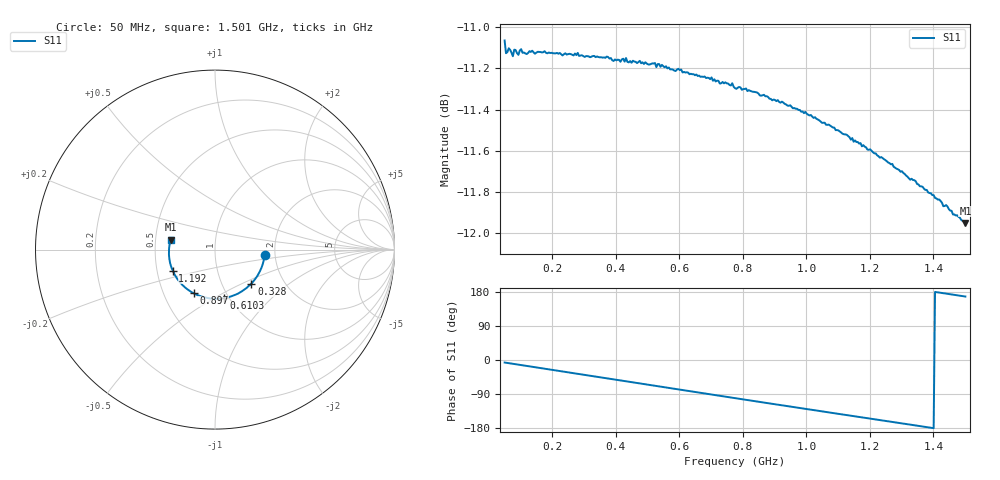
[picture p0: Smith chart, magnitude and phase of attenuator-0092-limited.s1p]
! This is a Touchstone .s1p format file
! It should be saved with .s1p extension
! HEWLETT PACKARD,8720D,0,7.74
! Date = 21 Mar 2018
! Time = 01:37:42
! S11 measured = FALSE
! S21 measured = FALSE
! S12 measured = FALSE
! S22 measured = TRUE
! Start frequency = 0.050000000 GHz
! Centre frequency  = 3.524999936 GHz
! Stop frequency  = 7.000000000 GHz
! IF bandwidth = 300 Hz
! Smoothing = OFF
! Smoothing aperture = 1.000000 %
! Averaging = OFF
! Averaging factor = 16
! Source power = On
! Source power = Auto mode
! Output power level = 5.000000 dBm
! Retrace power = Off
! Testset switching = Continuous
! Number of sweeps for test set switching (0=hold, 1=continuous,2-999 = number of sweeps) = 1
! Step sweep = On (check)
! List frequency sweep = Off (check)
! IFBW setting for a list-frequency table in swept list mode = Disabled (Check)
! Power setting for a list-frequency table in swept list mode = Disabled (Check)
! Measurement mode = Chop A and B
! Port extensions = OFF
! Port extension 1 = 0.000000 ps
! Port extension 2 = 57.970000 ps
! Points  = 1601
! Calibration kit = 3.5 mm D
! Power = 5.000000 dBm
! Frequency magS22 angS22
! Magnitudes are in log form
! Angles are in degrees
# MHz S DB R 50
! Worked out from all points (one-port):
!   335 points, 50 MHz to 1.501 GHz, reference 50 ohm
!   lowest |S11| = -12.0 dB at 1.501 GHz (marker M1), VSWR 1.68, Z = 30.1 + j3.52 ohm
!   |S11| at or under -10 dB: start of sweep to end of sweep
!   S11 on the Smith chart (normalised r, x): 50 MHz: 1.76, -0.12; 328 MHz: 1.38, -0.56; 610.3 MHz: 0.95, -0.55; 897 MHz: 0.71, -0.37; 1.192 GHz: 0.60, -0.15; 1.501 GHz: 0.60, +0.07
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50  -11.06 -6.6
54.34375  -11.13 -7.1
76.0625  -11.14 -10.0
136.875  -11.11 -18.0
175.9688  -11.12 -23.1
232.4375  -11.14 -30.4
271.5312  -11.13 -35.5
328  -11.14 -42.9
371.4375  -11.14 -48.6
414.875  -11.17 -54.2
475.6875  -11.16 -62.1
519.125  -11.18 -67.8
597.3125  -11.20 -77.9
610.3438  -11.22 -79.6
701.5625  -11.24 -91.3
775.4062  -11.30 -100.7
836.2188  -11.31 -108.4
897.0312  -11.35 -116.2
957.8438  -11.39 -123.9
1014.312  -11.43 -131.1
1066.438  -11.47 -137.8
1140.281  -11.55 -147.0
1192.406  -11.59 -153.6
1270.594  -11.66 -163.4
1322.719  -11.73 -170.0
1366.156  -11.78 -175.4
1418.281  -11.84 178.0
1500.812  -11.95 167.5
